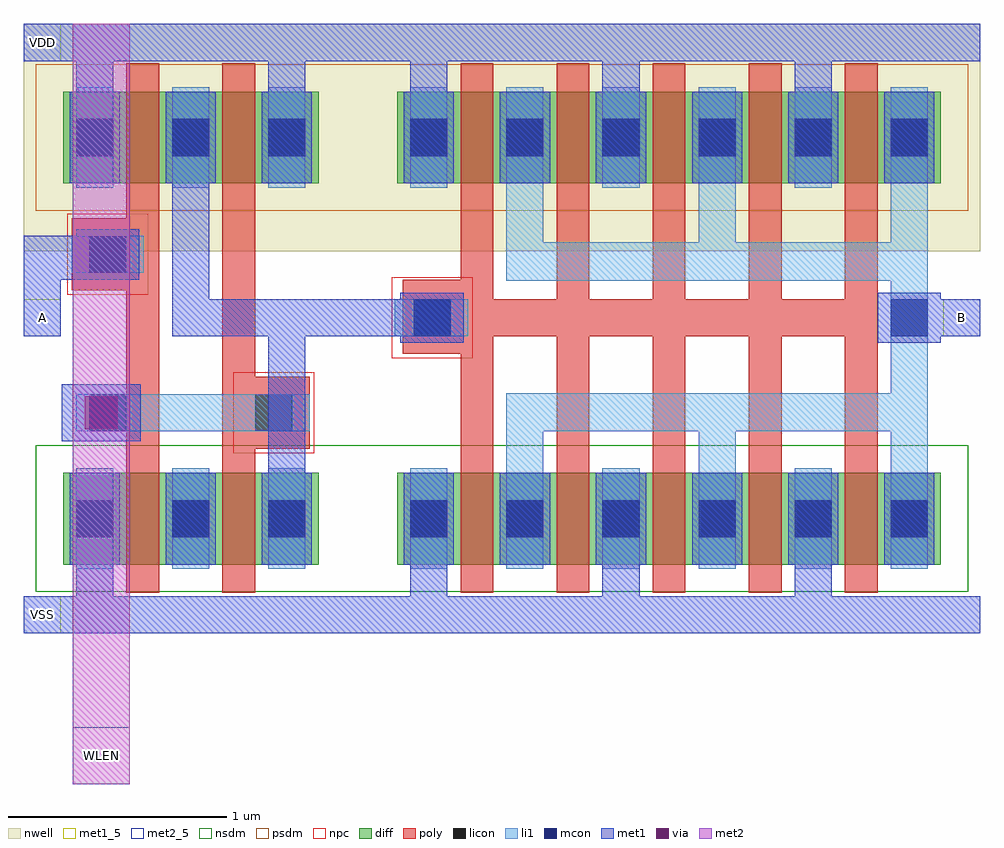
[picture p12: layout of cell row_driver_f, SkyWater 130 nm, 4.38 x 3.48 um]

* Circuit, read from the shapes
.subckt row_driver_f A B VDD VSS WLEN
XM1 n1 A VSS VSUBS sky130_fd_pr__nfet_01v8 w=0.42 l=0.15
XM2 n2 WLEN n1 VSUBS sky130_fd_pr__nfet_01v8 w=0.42 l=0.15
XM3 B n2 VSS VSUBS sky130_fd_pr__nfet_01v8 w=0.42 l=0.15 m=5
XM4 n2 A VDD n3 sky130_fd_pr__pfet_01v8 w=0.42 l=0.15
XM5 VDD WLEN n2 n3 sky130_fd_pr__pfet_01v8 w=0.42 l=0.15
XM6 B n2 VDD n3 sky130_fd_pr__pfet_01v8 w=0.42 l=0.15 m=5
.ends

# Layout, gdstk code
import gdstk
lib = gdstk.Library(unit=1e-6, precision=5e-09)
def R(c, l, rs):  # rectangles x0, y0, x1, y1
    for r in rs: c.add(gdstk.rectangle(r[:2], r[2:], *l))
def A(c, l, x, y, w, h, nx, ny, dx, dy):  # array of equal rectangles
    R(c, l, [(x+i*dx, y+j*dy, x+i*dx+w, y+j*dy+h) for i in range(nx) for j in range(ny)])
nwell = (64, 20)
diff = (65, 20)
poly = (66, 20)
licon = (66, 44)
li1 = (67, 20)
mcon = (67, 44)
met1_5 = (68, 5)
met1 = (68, 20)
via = (68, 44)
met2_5 = (69, 5)
met2 = (69, 20)
nsdm = (93, 44)
psdm = (94, 20)
npc = (95, 20)

row_driver_f = lib.new_cell('row_driver_f')
R(row_driver_f, nwell, [(0,2.44,4.38,3.48)])
R(row_driver_f, diff, [(0.18,1.005,1.35,1.425), (1.71,1.005,4.2,1.425), (0.18,2.75,1.35,3.17), (1.71,2.75,4.2,3.17)])
A(row_driver_f, poly, 2.44, 0.875, 0.15, 1.175, 4, 1, 0.44, 0)
A(row_driver_f, poly, 2.44, 2.22, 0.15, 1.08, 4, 1, 0.44, 0)
R(row_driver_f, poly, [(0.47,0.875,0.62,2.26), (0.91,0.875,1.06,1.535), (2,0.875,2.15,1.97), (0.91,1.535,1.31,1.865), (0.91,1.865,1.06,3.3), (1.735,1.97,2.15,2.05), (1.735,2.05,3.91,2.22), (1.735,2.22,2.15,2.31), (0.22,2.26,0.62,2.59), (2,2.31,2.15,3.3), (0.47,2.59,0.62,3.3)])
A(row_driver_f, licon, 0.24, 1.13, 0.17, 0.17, 3, 2, 0.44, 1.745)
A(row_driver_f, licon, 1.77, 1.13, 0.17, 0.17, 6, 2, 0.44, 1.745)
R(row_driver_f, licon, [(1.06,1.615,1.23,1.785), (1.785,2.05,1.955,2.22), (0.3,2.34,0.47,2.51)])
A(row_driver_f, li1, 0.24, 0.985, 0.17, 0.46, 3, 2, 0.44, 1.745)
A(row_driver_f, li1, 1.77, 0.985, 0.17, 0.46, 3, 2, 0.88, 1.745)
A(row_driver_f, li1, 2.21, 0.985, 0.17, 0.63, 3, 1, 0.88, 0)
A(row_driver_f, li1, 2.21, 2.48, 0.17, 0.71, 3, 1, 0.88, 0)
R(row_driver_f, li1, [(0.24,1.615,1.31,1.785), (2.21,1.615,4.14,1.79), (3.97,1.79,4.14,2.305), (1.7,2.05,2.035,2.22), (2.21,2.305,4.14,2.48), (0.22,2.34,0.55,2.51)])
A(row_driver_f, mcon, 0.24, 1.13, 0.17, 0.17, 3, 2, 0.44, 1.745)
A(row_driver_f, mcon, 1.77, 1.13, 0.17, 0.17, 6, 2, 0.44, 1.745)
R(row_driver_f, mcon, [(0.3,1.615,0.47,1.785), (1.785,2.05,1.955,2.22), (3.97,2.05,4.14,2.22), (0.3,2.34,0.47,2.51)])
R(row_driver_f, met1_5, [(0,0.69,0.17,0.86), (0,2.05,0.17,2.22), (4.21,2.05,4.38,2.22), (0,3.31,0.17,3.48)])
A(row_driver_f, met1, 1.77, 0.86, 0.17, 0.145, 3, 1, 0.88, 0)
A(row_driver_f, met1, 0.21, 1.005, 0.23, 0.42, 3, 2, 0.44, 1.745)
A(row_driver_f, met1, 1.74, 1.005, 0.23, 0.42, 6, 2, 0.44, 1.745)
A(row_driver_f, met1, 1.77, 3.17, 0.17, 0.14, 3, 1, 0.88, 0)
R(row_driver_f, met1, [(0,0.69,4.38,0.86), (0.24,0.86,0.41,1.005), (1.12,1.425,1.29,2.05), (0.175,1.57,0.535,1.83), (1.725,2.02,2.015,2.05), (3.91,2.02,4.2,2.05), (0,2.05,0.17,2.31), (0.68,2.05,2.015,2.22), (3.91,2.05,4.38,2.22), (0.68,2.22,0.85,2.75), (1.725,2.22,2.015,2.25), (3.91,2.22,4.2,2.25), (0,2.31,0.53,2.51), (0.24,2.51,0.53,2.54), (0.24,3.17,0.41,3.31), (1.12,3.17,1.29,3.31), (0,3.31,4.38,3.48)])
R(row_driver_f, via, [(0.28,1.625,0.43,1.775)])
R(row_driver_f, met2_5, [(0.225,0,0.485,0.26)])
R(row_driver_f, met2, [(0.225,0,0.485,3.48)])
R(row_driver_f, nsdm, [(0.055,0.88,4.325,1.55)])
R(row_driver_f, psdm, [(0.055,2.625,4.325,3.295)])
R(row_driver_f, npc, [(0.96,1.515,1.33,1.885), (1.685,1.95,2.055,2.32), (0.2,2.24,0.57,2.61)])
row_driver_f.add(gdstk.Label('VDD', (0.085,3.395), layer=68, texttype=5))
row_driver_f.add(gdstk.Label('A', (0.085,2.135), layer=68, texttype=5))
row_driver_f.add(gdstk.Label('VSS', (0.085,0.775), layer=68, texttype=5))
row_driver_f.add(gdstk.Label('WLEN', (0.355,0.13), layer=69, texttype=5))
row_driver_f.add(gdstk.Label('B', (4.295,2.135), layer=68, texttype=5))

lib.write_gds('row_driver_f.gds')
